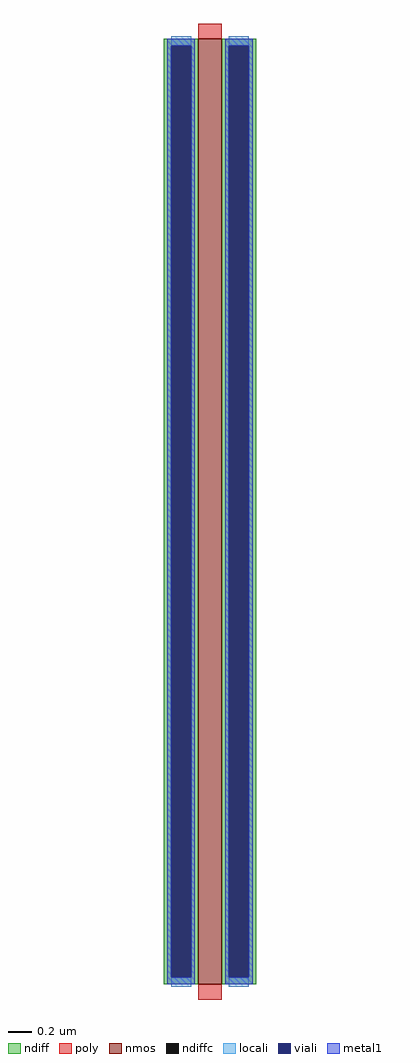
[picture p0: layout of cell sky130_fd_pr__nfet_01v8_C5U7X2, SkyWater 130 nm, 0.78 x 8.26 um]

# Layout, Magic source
magic
tech sky130A
<< nmos >>
rect -10 -400 10 400
<< ndiff >>
rect -39 394 -10 400
rect -39 -394 -33 394
rect -16 -394 -10 394
rect -39 -400 -10 -394
rect 10 394 39 400
rect 10 -394 16 394
rect 33 -394 39 394
rect 10 -400 39 -394
<< ndiffc >>
rect -33 -394 -16 394
rect 16 -394 33 394
<< poly >>
rect -10 400 10 413
rect -10 -413 10 -400
<< locali >>
rect -33 394 -16 402
rect -33 -402 -16 -394
rect 16 394 33 402
rect 16 -402 33 -394
<< viali >>
rect -33 -394 -16 394
rect 16 -394 33 394
<< metal1 >>
rect -36 394 -13 400
rect -36 -394 -33 394
rect -16 -394 -13 394
rect -36 -400 -13 -394
rect 13 394 36 400
rect 13 -394 16 394
rect 33 -394 36 394
rect 13 -400 36 -394
<< properties >>
string gencell sky130_fd_pr__nfet_01v8
string library sky130
string parameters w 8 l 0.2 m 1 nf 1 diffcov 100 polycov 100 guard 0 glc 1 grc 1 gtc 1 gbc 1 tbcov 100 rlcov 100 topc 0 botc 0 poverlap 0 doverlap 1 lmin 0.15 wmin 0.42 compatible {sky130_fd_pr__nfet_01v8 sky130_fd_pr__nfet_01v8_lvt  sky130_fd_bs_flash__special_sonosfet_star  sky130_fd_pr__nfet_g5v0d10v5 sky130_fd_pr__nfet_05v0_nvt  sky130_fd_pr__nfet_03v3_nvt} full_metal 1 viasrc 100 viadrn 100 viagate 100 viagb 0 viagr 0 viagl 0 viagt 0
<< end >>
